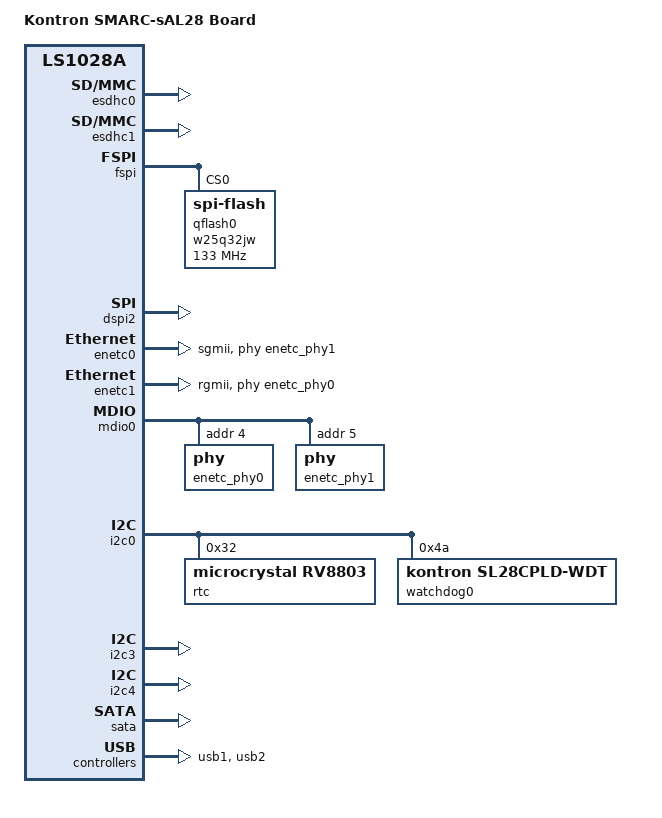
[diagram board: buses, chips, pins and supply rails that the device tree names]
/*
 * Kontron SMARC-sAL28 device tree source
 *
 * Copyright 2018 Kontron Europe GmbH
 *
 * SPDX-License-Identifier:	GPL-2.0+
 */

/dts-v1/;

#include "fsl-ls1028a.dtsi"

/ {
	u-boot,dm-pre-reloc;
	model = "Kontron SMARC-sAL28 Board";
	compatible = "kontron,sl28", "fsl,ls1028a";

	aliases {
		serial0 = &serial0;
		serial1 = &serial1;
		spi0 = &fspi;
		spi1 = &dspi2;
		mmc0 = &esdhc0;
		mmc1 = &esdhc1;
		i2c0 = &i2c0;
		i2c1 = &i2c3;
		i2c2 = &i2c4;
		rtc0 = &rtc;
		watchdog0 = &cluster1_core0_watchdog;
		watchdog1 = &cluster1_core1_watchdog;
		watchdog2 = &watchdog0;
		fixup0 = &enetc0;
		fixup1 = &enetc1;
		fixup2 = &enetc2;
		fixup3 = &ethsw;
	};

	chosen {
		stdout-path = &serial0;
	};

	config {
		u-boot,spl-payload-offset = <0x30000>;
		load-environment = <1>;
	};
};

&sysclk {
	u-boot,dm-pre-reloc;
};

&esdhc0 {
	u-boot,dm-pre-reloc;
	status = "okay";
};

&esdhc1 {
	u-boot,dm-pre-reloc;
	status = "okay";
};

&serial0 {
	u-boot,dm-pre-reloc;
	clock-frequency = <200000000>;
};

&fspi {
	u-boot,dm-pre-reloc;
	bus-num = <0>;
	status = "okay";
	num-cs = <2>;

	qflash0: w25q32jw@0 {
		u-boot,dm-pre-reloc;
		#address-cells = <1>;
		#size-cells = <1>;
		compatible = "spi-flash";
		spi-max-frequency = <133000000>;
		reg = <0>;
	 };
};

&dspi2 {
	u-boot,dm-pre-reloc;
	status = "okay";
};

&enetc0 {
	status = "okay";
	phy-mode = "sgmii";
	phy-handle = <&enetc_phy1>;
};

&enetc1 {
	status = "okay";
	phy-mode = "rgmii";
	phy-handle = <&enetc_phy0>;
};

&enetc2 {
	status = "disabled";
};

&enetc6 {
	status = "disabled";
};

&ethsw {
	status = "disabled";
	port@0 {
		status = "okay";
		phy-mode = "sgmii";
	    phy-handle = <&enetc_phy1>;
	};
	port@1 {
		status = "okay";
		phy-mode = "sgmii";
	    phy-handle = <&enetc_phy0>;
	};
	port@2 {
		status = "disabled";
		phy-mode = "sgmii";
	};
	port@3 {
		status = "disabled";
		phy-mode = "sgmii";
	};
};

&mdio0 {
	status = "okay";
	enetc_phy0: phy@4 {
		reg = <4>;
	};
	enetc_phy1: phy@5 {
		reg = <5>;
	};
};

&i2c0 {
	status = "okay";
	rtc: rtc@32 {
		compatible = "microcrystal,rv8803";
		reg = <0x32>;
	};

	watchdog0: cpld_watchdog@4a {
		compatible = "kontron,sl28cpld-wdt";
		reg = <0x4a>;
	};
};

&i2c3 {
	status = "okay";
};

&i2c4 {
	status = "okay";
};

&sata {
	status = "okay";
};

&usb1 {
	status = "okay";
};

&usb2 {
	status = "okay";
};
